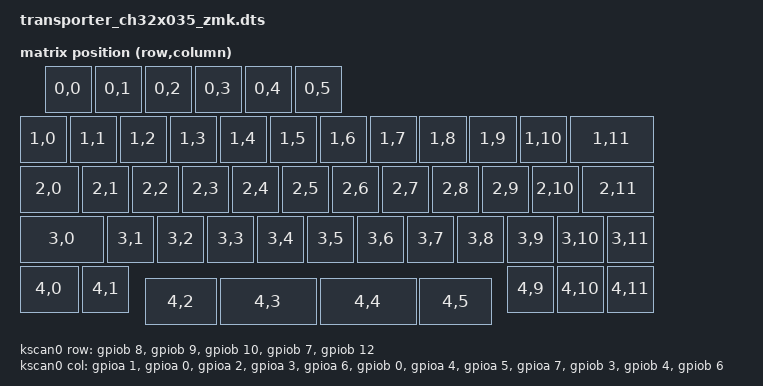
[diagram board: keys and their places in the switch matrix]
/*
 * Copyright (c) 2026 carrefinho
 *
 * SPDX-License-Identifier: MIT
 */

#include "transporter.dts"
#include <dt-bindings/zmk/matrix_transform.h>
#include <physical_layouts.dtsi>

/*
 * The diodes are physically col2row, but all rows are on PB, which has no
 * pull-down. The WCH GPIO driver accepts GPIO_PULL_DOWN there and silently
 * does nothing, leaving the rows floating. So the scan runs row2col: columns
 * are pulled-up inputs and rows are driven low as strobes. The diodes are
 * still forward-biased, and the transform stays in physical (row, col) terms.
 */

/ {
	chosen {
		zmk,kscan = &kscan0;
		zmk,physical-layout = &layout_transporter;
	};

	kscan0: kscan_0 {
		compatible = "zmk,kscan-gpio-matrix";
		diode-direction = "row2col";

		/* Physical columns -- INPUTS, pulled up. */
		col-gpios
			= <&gpioa 1  (GPIO_ACTIVE_LOW | GPIO_PULL_UP)>   /* COL0  */
			, <&gpioa 0  (GPIO_ACTIVE_LOW | GPIO_PULL_UP)>   /* COL1  */
			, <&gpioa 2  (GPIO_ACTIVE_LOW | GPIO_PULL_UP)>   /* COL2  */
			, <&gpioa 3  (GPIO_ACTIVE_LOW | GPIO_PULL_UP)>   /* COL3  */
			, <&gpioa 6  (GPIO_ACTIVE_LOW | GPIO_PULL_UP)>   /* COL4  */
			, <&gpiob 0  (GPIO_ACTIVE_LOW | GPIO_PULL_UP)>   /* COL5  */
			, <&gpioa 4  (GPIO_ACTIVE_LOW | GPIO_PULL_UP)>   /* COL6  */
			, <&gpioa 5  (GPIO_ACTIVE_LOW | GPIO_PULL_UP)>   /* COL7  */
			, <&gpioa 7  (GPIO_ACTIVE_LOW | GPIO_PULL_UP)>   /* COL8  */
			, <&gpiob 3  (GPIO_ACTIVE_LOW | GPIO_PULL_UP)>   /* COL9  */
			, <&gpiob 4  (GPIO_ACTIVE_LOW | GPIO_PULL_UP)>   /* COL10 */
			, <&gpiob 6  (GPIO_ACTIVE_LOW | GPIO_PULL_UP)>   /* COL11 */
			;

		/* Physical rows -- STROBES, driven low when selected. */
		row-gpios
			= <&gpiob 8  GPIO_ACTIVE_LOW>   /* ROW0 */
			, <&gpiob 9  GPIO_ACTIVE_LOW>   /* ROW1 */
			, <&gpiob 10 GPIO_ACTIVE_LOW>   /* ROW2 */
			, <&gpiob 7  GPIO_ACTIVE_LOW>   /* ROW3 */
			, <&gpiob 12 GPIO_ACTIVE_LOW>   /* ROW4 */
			;
	};

	transform_transporter: keymap_transform_0 {
		compatible = "zmk,matrix-transform";
		columns = <12>;
		rows = <5>;
		map = <
			RC(0,0) RC(0,1) RC(0,2) RC(0,3) RC(0,4) RC(0,5)
			RC(1,0) RC(1,1) RC(1,2) RC(1,3) RC(1,4) RC(1,5) RC(1,6) RC(1,7) RC(1,8) RC(1,9) RC(1,10) RC(1,11)
			RC(2,0) RC(2,1) RC(2,2) RC(2,3) RC(2,4) RC(2,5) RC(2,6) RC(2,7) RC(2,8) RC(2,9) RC(2,10) RC(2,11)
			RC(3,0) RC(3,1) RC(3,2) RC(3,3) RC(3,4) RC(3,5) RC(3,6) RC(3,7) RC(3,8) RC(3,9) RC(3,10) RC(3,11)
			RC(4,0) RC(4,1) RC(4,2) RC(4,3) RC(4,4) RC(4,5) RC(4,9) RC(4,10) RC(4,11)
		>;
	};

	/* 1U = 100. The thumb keys sit 0.25U below the outer bottom row. */
	layout_transporter: layout_transporter {
		compatible = "zmk,physical-layout";
		display-name = "Transporter";
		transform = <&transform_transporter>;

		keys  //                       w   h    x    y  rot rx ry
			= <&key_physical_attrs 100 100   50    0 0 0 0>   /* SW1 R0C0 */
			, <&key_physical_attrs 100 100  150    0 0 0 0>   /* SW2 R0C1 */
			, <&key_physical_attrs 100 100  250    0 0 0 0>   /* SW3 R0C2 */
			, <&key_physical_attrs 100 100  350    0 0 0 0>   /* SW4 R0C3 */
			, <&key_physical_attrs 100 100  450    0 0 0 0>   /* SW5 R0C4 */
			, <&key_physical_attrs 100 100  550    0 0 0 0>   /* SW6 R0C5 */
			, <&key_physical_attrs 100 100    0  100 0 0 0>   /* SW7 R1C0 */
			, <&key_physical_attrs 100 100  100  100 0 0 0>   /* SW8 R1C1 */
			, <&key_physical_attrs 100 100  200  100 0 0 0>   /* SW9 R1C2 */
			, <&key_physical_attrs 100 100  300  100 0 0 0>   /* SW10 R1C3 */
			, <&key_physical_attrs 100 100  400  100 0 0 0>   /* SW11 R1C4 */
			, <&key_physical_attrs 100 100  500  100 0 0 0>   /* SW12 R1C5 */
			, <&key_physical_attrs 100 100  600  100 0 0 0>   /* SW13 R1C6 */
			, <&key_physical_attrs 100 100  700  100 0 0 0>   /* SW14 R1C7 */
			, <&key_physical_attrs 100 100  800  100 0 0 0>   /* SW15 R1C8 */
			, <&key_physical_attrs 100 100  900  100 0 0 0>   /* SW16 R1C9 */
			, <&key_physical_attrs 100 100 1000  100 0 0 0>   /* SW17 R1C10 */
			, <&key_physical_attrs 175 100 1100  100 0 0 0>   /* SW18 R1C11 */
			, <&key_physical_attrs 125 100    0  200 0 0 0>   /* SW19 R2C0 */
			, <&key_physical_attrs 100 100  125  200 0 0 0>   /* SW20 R2C1 */
			, <&key_physical_attrs 100 100  225  200 0 0 0>   /* SW21 R2C2 */
			, <&key_physical_attrs 100 100  325  200 0 0 0>   /* SW22 R2C3 */
			, <&key_physical_attrs 100 100  425  200 0 0 0>   /* SW23 R2C4 */
			, <&key_physical_attrs 100 100  525  200 0 0 0>   /* SW24 R2C5 */
			, <&key_physical_attrs 100 100  625  200 0 0 0>   /* SW25 R2C6 */
			, <&key_physical_attrs 100 100  725  200 0 0 0>   /* SW26 R2C7 */
			, <&key_physical_attrs 100 100  825  200 0 0 0>   /* SW27 R2C8 */
			, <&key_physical_attrs 100 100  925  200 0 0 0>   /* SW28 R2C9 */
			, <&key_physical_attrs 100 100 1025  200 0 0 0>   /* SW29 R2C10 */
			, <&key_physical_attrs 150 100 1125  200 0 0 0>   /* SW30 R2C11 */
			, <&key_physical_attrs 175 100    0  300 0 0 0>   /* SW31 R3C0 */
			, <&key_physical_attrs 100 100  175  300 0 0 0>   /* SW32 R3C1 */
			, <&key_physical_attrs 100 100  275  300 0 0 0>   /* SW33 R3C2 */
			, <&key_physical_attrs 100 100  375  300 0 0 0>   /* SW34 R3C3 */
			, <&key_physical_attrs 100 100  475  300 0 0 0>   /* SW35 R3C4 */
			, <&key_physical_attrs 100 100  575  300 0 0 0>   /* SW36 R3C5 */
			, <&key_physical_attrs 100 100  675  300 0 0 0>   /* SW37 R3C6 */
			, <&key_physical_attrs 100 100  775  300 0 0 0>   /* SW38 R3C7 */
			, <&key_physical_attrs 100 100  875  300 0 0 0>   /* SW39 R3C8 */
			, <&key_physical_attrs 100 100  975  300 0 0 0>   /* SW40 R3C9 */
			, <&key_physical_attrs 100 100 1075  300 0 0 0>   /* SW41 R3C10 */
			, <&key_physical_attrs 100 100 1175  300 0 0 0>   /* SW42 R3C11 */
			, <&key_physical_attrs 125 100    0  400 0 0 0>   /* SW43 R4C0 */
			, <&key_physical_attrs 100 100  125  400 0 0 0>   /* SW44 R4C1 */
			, <&key_physical_attrs 150 100  250  425 0 0 0>   /* SW48 R4C2 */
			, <&key_physical_attrs 200 100  400  425 0 0 0>   /* SW49 R4C3 */
			, <&key_physical_attrs 200 100  600  425 0 0 0>   /* SW50 R4C4 */
			, <&key_physical_attrs 150 100  800  425 0 0 0>   /* SW51 R4C5 */
			, <&key_physical_attrs 100 100  975  400 0 0 0>   /* SW45 R4C9 */
			, <&key_physical_attrs 100 100 1075  400 0 0 0>   /* SW46 R4C10 */
			, <&key_physical_attrs 100 100 1175  400 0 0 0>   /* SW47 R4C11 */
			;
	};
};

/* 60 K code + 2 K NVS (default 8 sectors x 256 B pages). */
&flash0 {
	partitions {
		compatible = "fixed-partitions";
		#address-cells = <1>;
		#size-cells = <1>;

		code_partition: partition@0 {
			label = "code";
			reg = <0x00000000 0x0000f000>;
		};

		storage_partition: partition@f000 {
			label = "storage";
			reg = <0x0000f000 0x00000800>;
		};
	};
};

/ {
	chosen {
		zephyr,code-partition = &code_partition;
	};
};
